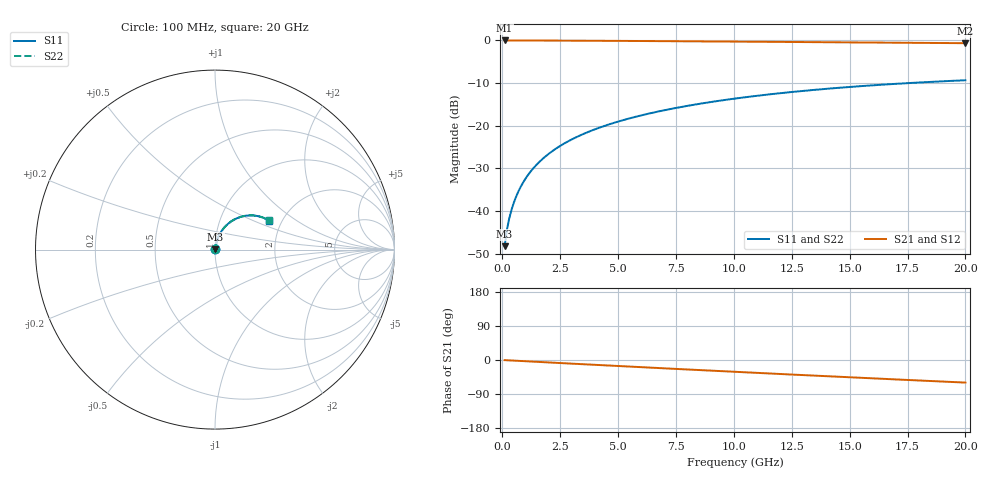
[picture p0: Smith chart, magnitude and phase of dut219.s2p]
! Touchstone file exported from HFSS 2026.1.0
!  File:  C:/ffzhzh/LocalFiles/Ansys_Project_Files/temp_train_BSMRDL_219_1782988030_40604.aedt
!  Generated:  06:28:37 PM Jul  2, 2026
!  Design:  BSMRDL
!  Project:  temp_train_BSMRDL_219_1782988030_40604
! Variables:
!  h_bsmrdl = 4.84um
!  h_ox = 20um
!  h_rdl = 5um
!  h_sub = 80um
!  h_tmrdl = 5um
!  h_tsv = 80um
!  h_via = 3um
!  l_bsmrdl = 997.87um
!  l_sub = 1397.87um
!  l_tmrdl = 200um
!  m_sub = 200um
!  pitch = 48.92um
!  r_tsv = 6um
!  s_tmrdl = 10um
!  w_bsmrdl = 29.95um
!  w_sub = 500um
!  w_tmrdl = 12um
!  x_tsv_center1 = 206um
!  x_tsv_center2 = 1233.82um
!  x_tsv_center3 = 1445.82um
!  x_tsv_center4 = 2473.64um
!  x_tsv_center5 = 2685.64um
!  x_tsv_center6 = 3713.46um
# GHz S MA R 50.000000
! Terminal data exported
! Port[1] = BSM_RDL1_1_T1
! Port[2] = BSM_RDL1_1_T2
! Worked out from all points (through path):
!   200 points, 100 MHz to 20 GHz, reference 50 ohm
!   highest |S21| = -0.02 dB at 100 MHz (marker M1); lowest = -0.7 dB at 20 GHz (marker M2)
!   group delay of S21, straight-line fit = 8.26 ps
!   lowest |S11| = -48.2 dB at 100 MHz (marker M3), VSWR 1.01, Z = 50.3 + j0.276 ohm
!   |S11| at or under -10 dB: start of sweep to 17.56 GHz
!   |S22| runs from -48.2 to -9.3 dB; largest |S21 - S12| = 2.3e-14
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0.1  0.003894 44.8  0.9973 -0.3  0.9973 -0.3  0.003894 44.8
! Gamma 0 0 0 0
! Port Impedance 50 0 50 0
0.2  0.00606 59.0  0.9969 -0.7  0.9969 -0.7  0.00606 59.0
0.3  0.008233 65.6  0.9967 -1.0  0.9967 -1.0  0.008233 65.6
0.4  0.01042 69.6  0.9965 -1.3  0.9965 -1.3  0.01042 69.6
0.5  0.01263 72.2  0.9964 -1.6  0.9964 -1.6  0.01263 72.2
0.6  0.01487 74.1  0.9963 -2.0  0.9963 -2.0  0.01487 74.1
0.8  0.01941 76.4  0.9961 -2.6  0.9961 -2.6  0.01941 76.4
1.1  0.02628 77.9  0.9958 -3.6  0.9958 -3.6  0.02628 77.9
1.5  0.03546 78.3  0.9952 -4.8  0.9952 -4.8  0.03546 78.3
1.8  0.04231 78.1  0.9947 -5.8  0.9947 -5.8  0.04231 78.1
2.1  0.04913 77.7  0.9941 -6.8  0.9941 -6.8  0.04912 77.7
2.7  0.06259 76.4  0.9927 -8.7  0.9927 -8.7  0.06258 76.4
3.5  0.08016 74.4  0.9906 -11.2  0.9906 -11.2  0.08016 74.4
4.2  0.09517 72.4  0.9885 -13.4  0.9885 -13.4  0.09517 72.4
5  0.1119 70.2  0.986 -15.9  0.986 -15.9  0.1119 70.2
5.9  0.1303 67.6  0.983 -18.6  0.983 -18.6  0.1303 67.6
6.8  0.1482 65.0  0.9798 -21.4  0.9798 -21.4  0.1482 65.1
8.3  0.1768 60.8  0.9741 -25.9  0.9741 -25.9  0.1768 60.8
10.1  0.2091 55.7  0.9669 -31.3  0.9669 -31.3  0.2091 55.7
13.4  0.2621 46.4  0.9529 -41.0  0.9529 -41.0  0.2621 46.5
16.7  0.3063 37.3  0.939 -50.4  0.939 -50.4  0.3063 37.4
20  0.3412 28.3  0.9266 -59.6  0.9266 -59.6  0.3411 28.5
